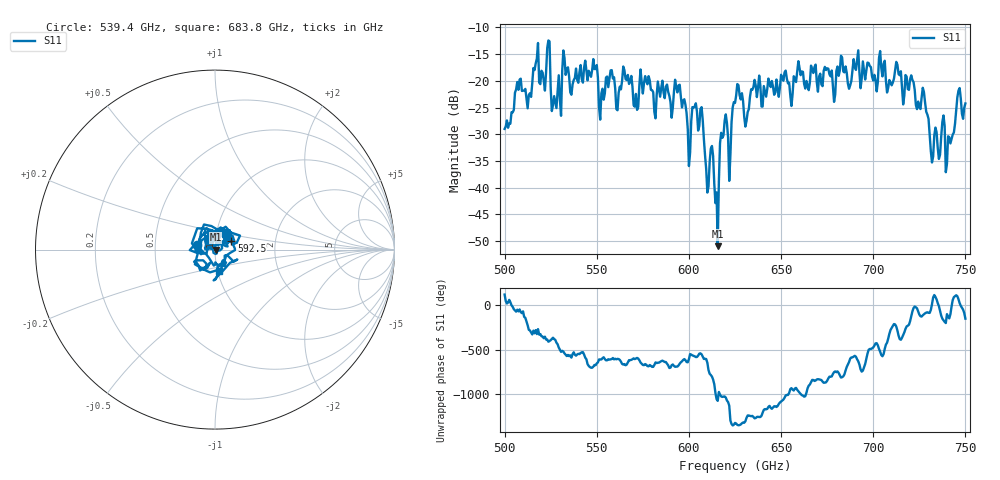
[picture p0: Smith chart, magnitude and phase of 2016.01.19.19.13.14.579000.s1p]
!Created with skrf (http://scikit-rf.org).
# GHz S RI R 50.0
!freq ReS11 ImS11
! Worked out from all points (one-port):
!   401 points, 500 GHz to 750 GHz, reference 50 ohm
!   lowest |S11| = -50.9 dB at 615.6 GHz (marker M1), VSWR 1.01, Z = 50.3 + j0.0319 ohm
!   |S11| at or under -10 dB: start of sweep to end of sweep
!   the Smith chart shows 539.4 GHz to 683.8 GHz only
!   S11 on the Smith chart (normalised r, x): 539.4 GHz: 0.82, +0.04; 592.5 GHz: 1.19, +0.11; 683.8 GHz: 1.02, -0.25
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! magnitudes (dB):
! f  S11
! 500 GHz  -29.0
! 507.5 GHz  -21.7
! 513.1 GHz  -22.7
! 516.9 GHz  -16.7
! 523.8 GHz  -12.4
! 526.9 GHz  -22.9
! 531.2 GHz  -18.1
! 539.4 GHz  -19.8
! 562.5 GHz  -21.1
! 592.5 GHz  -19.8
! 593.8 GHz  -22.2
! 600 GHz  -35.9
! 603.1 GHz  -24.8
! 606.9 GHz  -24.9
! 609.4 GHz  -36.6
! 615.6 GHz  -50.9
! 618.1 GHz  -30.7
! 622.5 GHz  -33.9
! 625 GHz  -24.1
! 656.2 GHz  -22.5
! 683.8 GHz  -18.3
! 687.5 GHz  -20.8
! 718.8 GHz  -21.5
! 727.5 GHz  -22.1
! 731.9 GHz  -35.3
! 740.6 GHz  -30.4
! 746.2 GHz  -21.8
! 750 GHz  -24.2
